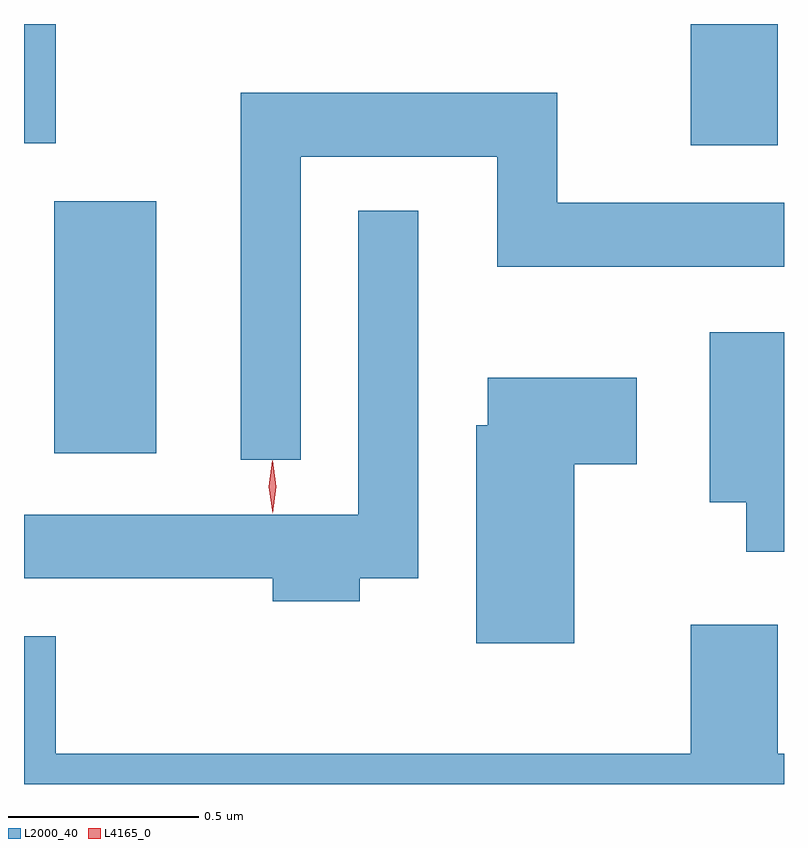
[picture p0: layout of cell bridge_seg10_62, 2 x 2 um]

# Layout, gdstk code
import gdstk
lib = gdstk.Library(unit=1e-6, precision=1e-09)
def R(c, l, rs):  # rectangles x0, y0, x1, y1
    for r in rs: c.add(gdstk.rectangle(r[:2], r[2:], *l))
def P(c, l, *ps):  # polygons
    for p in ps: c.add(gdstk.Polygon(p, *l))
L2000_40 = (2000, 40)
L4165_0 = (4165, 0)

bridge_seg10_62 = lib.new_cell('bridge_seg10_62')
R(bridge_seg10_62, L2000_40, [(1593.146,2214.876,1593.414,2215.539), (1594.821,2215.686,1595.049,2216.005), (1593.066,2215.691,1593.149,2216.005)])
P(bridge_seg10_62, L2000_40, [(1593.794,2215.656),(1594.311,2215.656),(1594.311,2215.366),(1595.066,2215.366),(1595.066,2215.534),(1594.469,2215.534),(1594.469,2215.824),(1593.636,2215.824),(1593.636,2214.858),(1593.794,2214.858)],
  [(1593.949,2214.546),(1594.104,2214.546),(1594.104,2215.513),(1593.946,2215.513),(1593.946,2214.714),(1593.066,2214.714),(1593.066,2214.546),(1593.721,2214.546),(1593.721,2214.486),(1593.949,2214.486)],
  [(1595.066,2215.194),(1594.871,2215.194),(1594.871,2214.746),(1594.966,2214.746),(1594.966,2214.616),(1595.066,2214.616)],
  [(1594.514,2214.846),(1594.679,2214.846),(1594.679,2215.074),(1594.286,2215.074),(1594.286,2214.949),(1594.256,2214.949),(1594.256,2214.376),(1594.514,2214.376)],
  [(1595.066,2214.084),(1595.049,2214.084),(1595.049,2214.424),(1594.821,2214.424),(1594.821,2214.084),(1593.149,2214.084),(1593.149,2214.394),(1593.066,2214.394),(1593.066,2214.005),(1595.066,2214.005)])
P(bridge_seg10_62, L4165_0, [(1593.72,2214.717),(1593.72,2214.718),(1593.71,2214.787),(1593.719,2214.856),(1593.72,2214.856),(1593.72,2214.856),(1593.73,2214.787),(1593.721,2214.718)])

lib.write_gds('bridge_seg10_62.gds')
